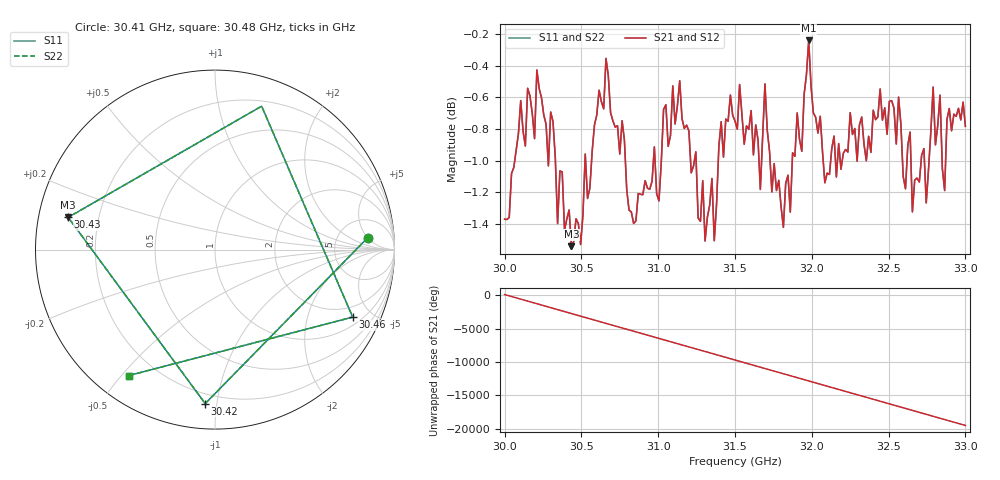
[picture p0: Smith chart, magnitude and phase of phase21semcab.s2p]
!Keysight Technologies,N5224B,MY57181201,A.12.70.07
!Date: Thursday, July 14, 2022 17:11:49
!Correction: S11(Response(S21))
!S21(Response(S21))
!S12(Response(S21))
!S22(Response(S21))
!S2P File: Measurements: S11, S21, S12, S22:
# Hz S  MA  R 50
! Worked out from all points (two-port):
!   201 points, 30 GHz to 33 GHz, reference 50 ohm
!   highest |S21| = -0.24 dB at 31.98 GHz (marker M1); lowest = -1.5 dB at 30.43 GHz (marker M2)
!   |S21| within 3 dB of the highest: start of sweep to end of sweep
!   lowest |S11| = -1.5 dB at 30.43 GHz (marker M3), VSWR 11.30, Z = 4.48 + j5.38 ohm
!   |S11| at or under -10 dB: nowhere
!   |S22| runs from -1.5 to -0.2 dB; largest |S21 - S12| = 0
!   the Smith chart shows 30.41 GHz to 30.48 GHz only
!   S11 on the Smith chart (normalised r, x): 30.41 GHz: 10, +5; 30.42 GHz: 0.14, -0.93; 30.43 GHz: 0.09, +0.11; 30.46 GHz: 1.38, -3.84; 30.48 GHz: 0.10, -0.52
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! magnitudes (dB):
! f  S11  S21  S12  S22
! 30 GHz  -1.4  -1.4  -1.4  -1.4
! 30.21 GHz  -0.4  -0.4  -0.4  -0.4
! 30.41 GHz  -1.4  -1.4  -1.4  -1.4
! 30.42 GHz  -1.3  -1.3  -1.3  -1.3
! 30.43 GHz  -1.5  -1.5  -1.5  -1.5
! 30.46 GHz  -1.4  -1.4  -1.4  -1.4
! 30.48 GHz  -1.4  -1.4  -1.4  -1.4
! 30.51 GHz  -1.3  -1.3  -1.3  -1.3
! 30.66 GHz  -0.4  -0.4  -0.4  -0.4
! 31 GHz  -1.3  -1.3  -1.3  -1.3
! 31.09 GHz  -0.5  -0.5  -0.5  -0.5
! 31.3 GHz  -1.5  -1.5  -1.5  -1.5
! 31.5 GHz  -0.7  -0.7  -0.7  -0.7
! 31.66 GHz  -1.2  -1.2  -1.2  -1.2
! 31.7 GHz  -0.5  -0.5  -0.5  -0.5
! 31.82 GHz  -1.4  -1.4  -1.4  -1.4
! 31.98 GHz  -0.2  -0.2  -0.2  -0.2
! 32.01 GHz  -0.7  -0.7  -0.7  -0.7
! 32.51 GHz  -0.6  -0.6  -0.6  -0.6
! 32.66 GHz  -1.3  -1.3  -1.3  -1.3
! 32.79 GHz  -0.5  -0.5  -0.5  -0.5
! 33 GHz  -0.8  -0.8  -0.8  -0.8
